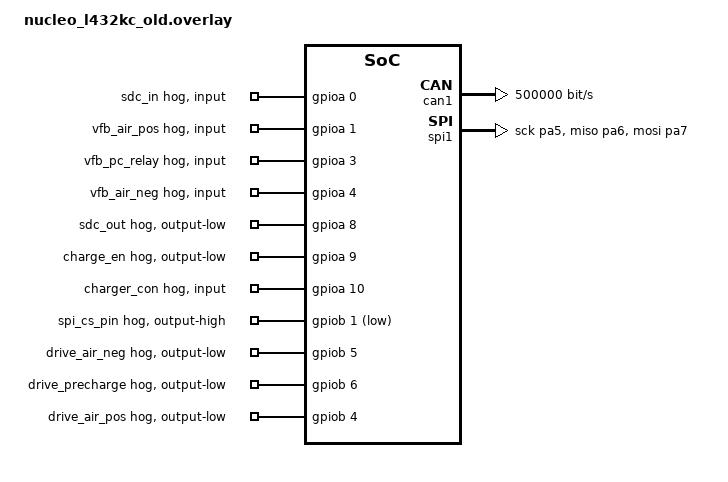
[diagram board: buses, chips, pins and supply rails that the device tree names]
&can1 {
    status       = "okay";
    bitrate      = <500000>;
};

&gpioa {
    sdc_in: sdc_in {
        gpios = <0 GPIO_ACTIVE_HIGH>;
        gpio-hog;
        input;
    };
    vfb_air_pos: vfb_air_pos {
        gpios = <1 GPIO_ACTIVE_HIGH>;
        gpio-hog;
        input;
    };
    vfb_pc_relay: vfb_pc_relay {
        gpios = <3 GPIO_ACTIVE_HIGH>;
        gpio-hog;
        input;
    };
    vfb_air_neg: vfb_air_neg {
        gpios = <4 GPIO_ACTIVE_HIGH>;
        gpio-hog;
        input;
    };
    sdc_out: sdc_out {
        gpios = <8 GPIO_ACTIVE_HIGH>;
        gpio-hog;
        output-low;
    };
    charge_en: charge_en {
        gpios = <9 GPIO_ACTIVE_HIGH>;
        gpio-hog;
        output-low;
    };
    charger_con: charger_con {
        gpios = <10 GPIO_ACTIVE_HIGH>;
        gpio-hog;
        input;
    };
};

&gpiob{
    spi_cs_pin: spi_cs_pin {
        gpios = <1 GPIO_ACTIVE_LOW>;
        gpio-hog;
        output-high;
    };
    drive_air_neg: drive_air_neg {
        gpios = <5 GPIO_ACTIVE_HIGH>;
        gpio-hog;
        output-low;
    };
    drive_precharge: drive_precharge {
        gpios = <6 GPIO_ACTIVE_HIGH>;
        gpio-hog;
        output-low;
    };
    drive_air_pos: drive_air_pos {
        gpios = <4 GPIO_ACTIVE_HIGH>;
        gpio-hog;
        output-low;
    };
};

&spi1 {
    status = "okay";
    pinctrl-0 = <&spi1_sck_pa5 &spi1_miso_pa6 &spi1_mosi_pa7>;
    pinctrl-names = "default";
};
